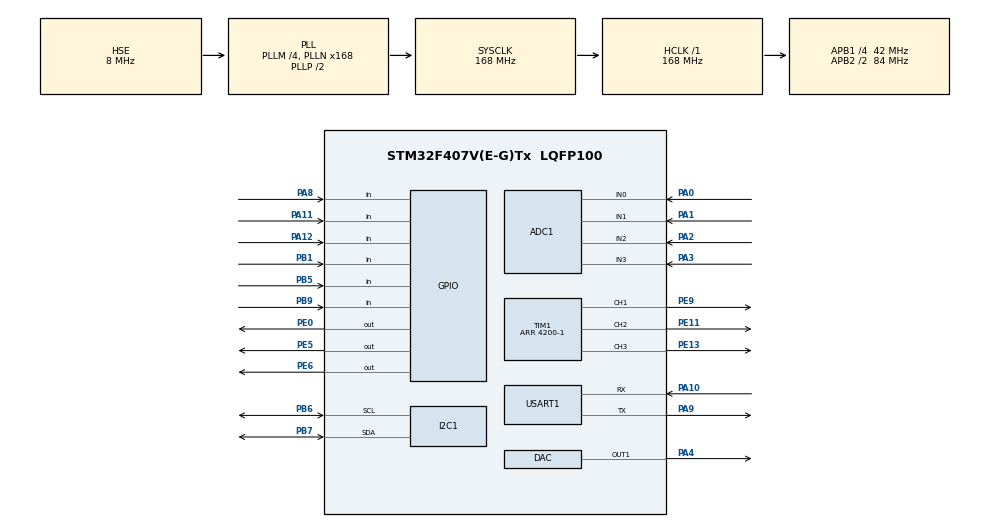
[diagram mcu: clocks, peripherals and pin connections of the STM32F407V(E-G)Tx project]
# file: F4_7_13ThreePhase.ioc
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ADC1.Channel-0\#ChannelRegularConversion=ADC_CHANNEL_0
ADC1.Channel-1\#ChannelRegularConversion=ADC_CHANNEL_1
ADC1.Channel-2\#ChannelRegularConversion=ADC_CHANNEL_2
ADC1.Channel-3\#ChannelRegularConversion=ADC_CHANNEL_3
ADC1.Channel-4\#ChannelRegularConversion=ADC_CHANNEL_VREFINT
ADC1.DMAContinuousRequests=ENABLE
ADC1.NbrOfConversion=5
ADC1.NbrOfConversionFlag=1
ADC1.Rank-0\#ChannelRegularConversion=1
ADC1.Rank-1\#ChannelRegularConversion=2
ADC1.Rank-2\#ChannelRegularConversion=3
ADC1.Rank-3\#ChannelRegularConversion=4
ADC1.Rank-4\#ChannelRegularConversion=5
ADC1.SamplingTime-0\#ChannelRegularConversion=ADC_SAMPLETIME_28CYCLES
ADC1.SamplingTime-1\#ChannelRegularConversion=ADC_SAMPLETIME_28CYCLES
ADC1.SamplingTime-2\#ChannelRegularConversion=ADC_SAMPLETIME_28CYCLES
ADC1.SamplingTime-3\#ChannelRegularConversion=ADC_SAMPLETIME_28CYCLES
ADC1.SamplingTime-4\#ChannelRegularConversion=ADC_SAMPLETIME_28CYCLES
ADC1.ScanConvMode=ENABLE
ADC1.master=1
Dma.ADC1.0.Direction=DMA_PERIPH_TO_MEMORY
Dma.ADC1.0.FIFOMode=DMA_FIFOMODE_DISABLE
Dma.ADC1.0.Instance=DMA2_Stream0
Dma.ADC1.0.MemDataAlignment=DMA_MDATAALIGN_HALFWORD
Dma.ADC1.0.MemInc=DMA_MINC_ENABLE
Dma.ADC1.0.Mode=DMA_CIRCULAR
Dma.ADC1.0.PeriphDataAlignment=DMA_PDATAALIGN_HALFWORD
Dma.ADC1.0.PeriphInc=DMA_PINC_DISABLE
Dma.ADC1.0.Priority=DMA_PRIORITY_HIGH
Dma.Request0=ADC1
Dma.Request1=USART1_RX
Dma.Request2=USART1_TX
Dma.USART1_RX.1.Direction=DMA_PERIPH_TO_MEMORY
Dma.USART1_RX.1.FIFOMode=DMA_FIFOMODE_DISABLE
Dma.USART1_RX.1.Instance=DMA2_Stream2
Dma.USART1_RX.1.MemDataAlignment=DMA_MDATAALIGN_BYTE
Dma.USART1_RX.1.MemInc=DMA_MINC_ENABLE
Dma.USART1_RX.1.Mode=DMA_NORMAL
Dma.USART1_RX.1.PeriphDataAlignment=DMA_PDATAALIGN_BYTE
Dma.USART1_RX.1.PeriphInc=DMA_PINC_DISABLE
Dma.USART1_RX.1.Priority=DMA_PRIORITY_LOW
Dma.USART1_TX.2.Direction=DMA_MEMORY_TO_PERIPH
Dma.USART1_TX.2.FIFOMode=DMA_FIFOMODE_DISABLE
Dma.USART1_TX.2.Instance=DMA2_Stream7
Dma.USART1_TX.2.MemDataAlignment=DMA_MDATAALIGN_BYTE
Dma.USART1_TX.2.MemInc=DMA_MINC_ENABLE
Dma.USART1_TX.2.Mode=DMA_NORMAL
Dma.USART1_TX.2.PeriphDataAlignment=DMA_PDATAALIGN_BYTE
Dma.USART1_TX.2.PeriphInc=DMA_PINC_DISABLE
Dma.USART1_TX.2.Priority=DMA_PRIORITY_LOW
Mcu.Family=STM32F4
Mcu.Name=STM32F407V(E-G)Tx
Mcu.Package=LQFP100
NVIC.DMA2_Stream0_IRQn=true\:0\:0\:false\:false\:true\:false\:true\:true
NVIC.DMA2_Stream2_IRQn=true\:0\:0\:false\:false\:true\:false\:true\:true
NVIC.DMA2_Stream7_IRQn=true\:0\:0\:false\:false\:true\:false\:true\:true
NVIC.PriorityGroup=NVIC_PRIORITYGROUP_4
NVIC.TIM1_BRK_TIM9_IRQn=true\:0\:0\:false\:false\:true\:true\:true\:true
NVIC.TIM1_CC_IRQn=true\:0\:0\:false\:false\:true\:true\:true\:true
NVIC.TIM1_TRG_COM_TIM11_IRQn=true\:0\:0\:false\:false\:true\:true\:true\:true
NVIC.TIM1_UP_TIM10_IRQn=true\:0\:0\:false\:false\:true\:true\:true\:true
NVIC.TIM2_IRQn=true\:0\:0\:false\:false\:true\:true\:true\:true
NVIC.TIM3_IRQn=true\:0\:0\:false\:false\:true\:true\:true\:true
NVIC.TIM4_IRQn=true\:0\:0\:false\:false\:true\:true\:true\:true
NVIC.TIM6_DAC_IRQn=true\:0\:0\:false\:false\:true\:true\:true\:true
NVIC.USART1_IRQn=true\:0\:0\:false\:false\:true\:true\:true\:true
PA0-WKUP.Signal=ADCx_IN0
PA1.Signal=ADCx_IN1
PA10.Mode=Asynchronous
PA10.Signal=USART1_RX
PA11.GPIO_PuPd=GPIO_PULLUP
PA11.Signal=GPIO_Input
PA12.GPIO_PuPd=GPIO_PULLUP
PA12.Signal=GPIO_Input
PA13.Mode=Serial_Wire
PA13.Signal=SYS_JTMS-SWDIO
PA14.Mode=Serial_Wire
PA14.Signal=SYS_JTCK-SWCLK
PA2.Signal=ADCx_IN2
PA3.Signal=ADCx_IN3
PA4.Signal=COMP_DAC1_group
PA8.GPIO_PuPd=GPIO_PULLUP
PA8.Signal=GPIO_Input
PA9.Mode=Asynchronous
PA9.Signal=USART1_TX
PB1.GPIO_PuPd=GPIO_PULLUP
PB1.Signal=GPIO_Input
PB5.GPIO_PuPd=GPIO_PULLUP
PB5.Signal=GPIO_Input
PB6.Mode=I2C
PB6.Signal=I2C1_SCL
PB7.Mode=I2C
PB7.Signal=I2C1_SDA
PB9.GPIO_PuPd=GPIO_PULLUP
PB9.Signal=GPIO_Input
PC14-OSC32_IN.Mode=LSE-External-Oscillator
PC14-OSC32_IN.Signal=RCC_OSC32_IN
PC15-OSC32_OUT.Mode=LSE-External-Oscillator
PC15-OSC32_OUT.Signal=RCC_OSC32_OUT
PE0.GPIO_Speed=GPIO_SPEED_FREQ_HIGH
PE0.Signal=GPIO_Output
PE11.Signal=S_TIM1_CH2
PE13.Signal=S_TIM1_CH3
PE5.GPIO_Speed=GPIO_SPEED_FREQ_HIGH
PE5.Signal=GPIO_Output
PE6.GPIO_Speed=GPIO_SPEED_FREQ_HIGH
PE6.Signal=GPIO_Output
PE9.Signal=S_TIM1_CH1
PH0-OSC_IN.Mode=HSE-External-Oscillator
PH0-OSC_IN.Signal=RCC_OSC_IN
PH1-OSC_OUT.Mode=HSE-External-Oscillator
PH1-OSC_OUT.Signal=RCC_OSC_OUT
ProjectManager.HeapSize=0x200
ProjectManager.StackSize=0x400
ProjectManager.TargetToolchain=MDK-ARM V5.32
RCC.48MHZClocksFreq_Value=84000000
RCC.AHBFreq_Value=168000000
RCC.APB1CLKDivider=RCC_HCLK_DIV4
RCC.APB1Freq_Value=42000000
RCC.APB1TimFreq_Value=84000000
RCC.APB2CLKDivider=RCC_HCLK_DIV2
RCC.APB2Freq_Value=84000000
RCC.APB2TimFreq_Value=168000000
RCC.CortexFreq_Value=168000000
RCC.HCLKFreq_Value=168000000
RCC.HSE_VALUE=8000000
RCC.HSI_VALUE=16000000
RCC.PLLM=4
RCC.PLLN=168
RCC.PLLSourceVirtual=RCC_PLLSOURCE_HSE
RCC.SYSCLKFreq_VALUE=168000000
RCC.SYSCLKSource=RCC_SYSCLKSOURCE_PLLCLK
RCC.VCOOutputFreq_Value=336000000
SH.ADCx_IN0.0=ADC1_IN0,IN0
SH.ADCx_IN1.0=ADC1_IN1,IN1
SH.ADCx_IN2.0=ADC1_IN2,IN2
SH.ADCx_IN3.0=ADC1_IN3,IN3
SH.COMP_DAC1_group.0=DAC_OUT1,DAC_OUT1
SH.S_TIM1_CH1.0=TIM1_CH1,PWM Generation1 CH1
SH.S_TIM1_CH2.0=TIM1_CH2,PWM Generation2 CH2
SH.S_TIM1_CH3.0=TIM1_CH3,PWM Generation3 CH3
STMicroelectronics.X-CUBE-ALGOBUILD.1.3.0.LibraryCcDSPOoLibraryJjDSPOoLibrary=true
TIM1.AutoReloadPreload=TIM_AUTORELOAD_PRELOAD_ENABLE
TIM1.Channel-PWM\ Generation1\ CH1=TIM_CHANNEL_1
TIM1.Channel-PWM\ Generation2\ CH2=TIM_CHANNEL_2
TIM1.Channel-PWM\ Generation3\ CH3=TIM_CHANNEL_3
TIM1.CounterMode=TIM_COUNTERMODE_CENTERALIGNED1
TIM1.Period=4200-1
TIM1.Pulse-PWM\ Generation1\ CH1=2100
TIM1.Pulse-PWM\ Generation2\ CH2=2100
TIM1.Pulse-PWM\ Generation3\ CH3=2100
TIM2.AutoReloadPreload=TIM_AUTORELOAD_PRELOAD_ENABLE
TIM2.Period=4200-1
TIM3.AutoReloadPreload=TIM_AUTORELOAD_PRELOAD_ENABLE
TIM3.Period=8400-1
TIM4.AutoReloadPreload=TIM_AUTORELOAD_PRELOAD_ENABLE
TIM4.Period=2100-1
TIM6.AutoReloadPreload=TIM_AUTORELOAD_PRELOAD_ENABLE
TIM6.Period=2100-1
USART1.VirtualMode=VM_ASYNC
VP_ADC1_Vref_Input.Mode=IN-Vrefint
VP_STMicroelectronics.X-CUBE-ALGOBUILD_VS_DSPOoLibraryJjLibrary_1.3.0_1.3.0.Mode=DSPOoLibraryJjLibrary
VP_TIM1_VS_ClockSourceINT.Mode=Internal
VP_TIM2_VS_ClockSourceINT.Mode=Internal
VP_TIM3_VS_ClockSourceINT.Mode=Internal
VP_TIM4_VS_ClockSourceINT.Mode=Internal
VP_TIM6_VS_ClockSourceINT.Mode=Enable_Timer
board=custom

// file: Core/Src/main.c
/* USER CODE BEGIN Header */
/**
  ******************************************************************************
  * @file           : main.c
  * @brief          : Main program body
  ******************************************************************************
  * @attention
  *
  * Copyright (c) 2023 STMicroelectronics.
  * All rights reserved.
  *
  * This software is licensed under terms that can be found in the LICENSE file
  * in the root directory of this software component.
  * If no LICENSE file comes with this software, it is provided AS-IS.
  *
  ******************************************************************************
  */
/* USER CODE END Header */
#include "main.h"
#include "adc.h"
#include "dac.h"
#include "dma.h"
#include "i2c.h"
#include "tim.h"
#include "usart.h"
#include "gpio.h"

/* USER CODE BEGIN Includes */
#include "cleck.h"
#include "Svpwm.h"
#include "Ave_Sam.h"
#include "Park.h"
#include "math.h"
#include "PLL.h"
#include "arm_math.h"
#include "SOGI_PLL.h"
#include "SPWM_pid.h"
#include "vofa.h"
#include "Smping.h"
#include "oled.h"
#include "key.h"
/* USER CODE END Includes */

/* USER CODE BEGIN PTD */
#define iq_tar     0

//#define kp_q       -8.2f  //-5.f                并网逆变10v 1A分配kp_q=-9.f  ki_q=-0.08f
//#define ki_q       -0.08f   //-20.0f
//#define kp_d       -13.f  //-12.5f                                             //-12.5f
//#define ki_d       -0.6f  //-5.f             2号

//#define kp_q       -10.f  //-5.f                并网逆变10v 1A分配kp_q=-9.f  ki_q=-0.08f
//#define ki_q       -0.010f   //-20.0f
//#define kp_d       -10.f  //-12.5f                                             //-12.5f
//#define ki_d       -0.1f  //-5.f

float  kp_q    =   -0.f;  //-5.f                并网逆变10v 1A分配kp_q=-9.f  ki_q=-0.08f
float  ki_q    =   -0.f ;  //-20.0f
float  kp_d    =   -0.f  ;//-12.5f                                             //-12.5f
float ki_d     =  -0.f ; //-5.f                                                 //-5.f
CLECK Cleck,Cleck_1;
PARK  Park;
AD_Detc AD_buf;
extern PLL p;
extern PR PRII;
PIDV pid;
Fil_TypeDef fil_i={0.f,0.f,0.f,0.f,0.f,0.f,},fil_u={0.f,0.f,0.f,0.f,0.f,0.f,};
float U_spwm,V_spwm,W_spwm,sumU;
float Sin_A,Sin_B,Sin_C;

float Un=1.f,Vn=1.f,Wn=1.f;

float Out;
float Tim_1_channe1_Compare,Tim_1_channe2_Compare;

float iq_error,iq_error_sum;
float id_error,id_error_sum;
float uab,uab_d,uab_q;
float target_nibian=22.f;
uint16_t time_count;
uint16_t time_start;
uint8_t key;
uint8_t key1;
float Iset;
float IoutT;
float id_tar  =   -1.414f;
float x=0;
/* USER CODE END PTD */

void SystemClock_Config(void);

int main(void)
{

  /* MCU Configuration--------------------------------------------------------*/

  /* Reset of all peripherals, Initializes the Flash interface and the Systick. */
  HAL_Init();

  /* Configure the system clock */
  SystemClock_Config();

  /* Initialize all configured peripherals */
  MX_GPIO_Init();
  MX_DMA_Init();
  MX_ADC1_Init();
  MX_TIM1_Init();
  MX_TIM2_Init();
  MX_TIM3_Init();
  MX_DAC_Init();
  MX_USART1_UART_Init();
  MX_TIM4_Init();
  MX_I2C1_Init();
  MX_TIM6_Init();
  /* USER CODE BEGIN 2 */
	OLED_Init();
	OLED_CLS();
	OLED_ShowStr(39,2,"STOP   ",2);
	OLED_ShowStr(0,4,"Iset:",2);
	OLED_ShowStr(68,4,".",2);
	OLED_ShowStr(98,4,"A",2);
	OLED_ON();
	HAL_TIM_Base_Start_IT(&htim2);
	HAL_TIM_Base_Start_IT(&htim3);
	HAL_TIM_Base_Start_IT(&htim1);
	HAL_TIM_Base_Start_IT(&htim4);
	HAL_TIM_Base_Start_IT(&htim6);
	HAL_TIM_PWM_Start(&htim1,TIM_CHANNEL_1);
	HAL_TIM_PWM_Start(&htim1,TIM_CHANNEL_2);
	HAL_TIM_PWM_Start(&htim1,TIM_CHANNEL_3);
	PLL_Init(&Cleck,&Park);
	HAL_DAC_Start(&hdac, DAC_CHANNEL_1);
	PID_init(&pid);
  /* USER CODE END 2 */

  /* Infinite loop */
  while (1)
  {

    /* USER CODE BEGIN 3 */
		key=KEY_Scan(1);
		switch(key)
		{
			case 1:  Iset+=0.01;
			break;
			case 2:  Iset-=0.01;
			break;
		}
		if(Iset>2)
			Iset=2;
		if(Iset<1)
			Iset=1;

		key1=KEY_Scan1(0);
		switch(key1)
		{
			case 3:  id_tar=Iset*-1.414f;
			break;
			case 4:
				 kp_q     =  -4.0f ; //-5.f                并网逆变10v 1A分配kp_q=-9.f  ki_q=-0.08f     -6.5f
         ki_q     =  -0.2f;   //-20.0f                                                      -0.15f
         kp_d     =  -4.0f ; //-12.5f                                             //-12.5f   -6.5f
         ki_d     =  -0.2f ; //-5                                                           -0.15f
			   x=0.8f;
			   id_tar  =   -1.414f*2.0f;
								OLED_ShowStr(39,2,"PARALLE",2);
			break;
			case 5:
			   kp_q     =  -7.4f ; //-5.f                并网逆变10v 1A分配kp_q=-9.f  ki_q=-0.08f
         ki_q     =  -0.3f;   //-20.0f
         kp_d     =  -7.4f ; //-12.5f                                             //-12.5f
         ki_d     =  -0.3f ;
			  x=0.812f;

								OLED_ShowStr(39,2,"ON-GRID",2);
			break;
			case 6:
				kp_q     =  -0.f ; //-5.f                并网逆变10v 1A分配kp_q=-9.f  ki_q=-0.08f
         ki_q     =  -0.f;   //-20.0f
         kp_d     =  -0.f ; //-12.5f                                             //-12.5f
         ki_d     =  -0.0f ;
								OLED_ShowStr(39,2,"STOP   ",2);
			break;
		}
	  uint8_t 	Itemp[4];
		if(Iset>1)
			IoutT=(Iset*0.4602+0.5324)*100;
		else
			IoutT=Iset*100;
		Itemp[0] = (uint8_t)(IoutT/1000);
		Itemp[1] = (uint8_t)((IoutT-(uint8_t)Itemp[0]*1000)/100);
		Itemp[2] = (uint8_t)((IoutT-(uint16_t)Itemp[0]*1000-(uint16_t)Itemp[1]*100)/10);
		Itemp[3] = (uint8_t)(IoutT-(uint16_t)Itemp[0]*1000-(uint16_t)Itemp[1]*100-(uint16_t)Itemp[2]*10);
		OLEDShowData(50,4,Itemp[0]);
		OLEDShowData(60,4,Itemp[1]);
		OLEDShowData(75,4,Itemp[2]);
		OLEDShowData(85,4,Itemp[3]);
			OLED_ON();

  }
  /* USER CODE END 3 */
}

void SystemClock_Config(void)
{
  RCC_OscInitTypeDef RCC_OscInitStruct = {0};
  RCC_ClkInitTypeDef RCC_ClkInitStruct = {0};

  /** Configure the main internal regulator output voltage
  */
  __HAL_RCC_PWR_CLK_ENABLE();
  __HAL_PWR_VOLTAGESCALING_CONFIG(PWR_REGULATOR_VOLTAGE_SCALE1);

  /** Initializes the RCC Oscillators according to the specified parameters
  * in the RCC_OscInitTypeDef structure.
  */
  RCC_OscInitStruct.OscillatorType = RCC_OSCILLATORTYPE_HSE;
  RCC_OscInitStruct.HSEState = RCC_HSE_ON;
  RCC_OscInitStruct.PLL.PLLState = RCC_PLL_ON;
  RCC_OscInitStruct.PLL.PLLSource = RCC_PLLSOURCE_HSE;
  RCC_OscInitStruct.PLL.PLLM = 4;
  RCC_OscInitStruct.PLL.PLLN = 168;
  RCC_OscInitStruct.PLL.PLLP = RCC_PLLP_DIV2;
  RCC_OscInitStruct.PLL.PLLQ = 4;
  if (HAL_RCC_OscConfig(&RCC_OscInitStruct) != HAL_OK)
  {
    Error_Handler();
  }

  /** Initializes the CPU, AHB and APB buses clocks
  */
  RCC_ClkInitStruct.ClockType = RCC_CLOCKTYPE_HCLK|RCC_CLOCKTYPE_SYSCLK
                              |RCC_CLOCKTYPE_PCLK1|RCC_CLOCKTYPE_PCLK2;
  RCC_ClkInitStruct.SYSCLKSource = RCC_SYSCLKSOURCE_PLLCLK;
  RCC_ClkInitStruct.AHBCLKDivider = RCC_SYSCLK_DIV1;
  RCC_ClkInitStruct.APB1CLKDivider = RCC_HCLK_DIV4;
  RCC_ClkInitStruct.APB2CLKDivider = RCC_HCLK_DIV2;

  if (HAL_RCC_ClockConfig(&RCC_ClkInitStruct, FLASH_LATENCY_5) != HAL_OK)
  {
    Error_Handler();
  }
}

/* USER CODE BEGIN 4 */

void HAL_TIM_PeriodElapsedCallback(TIM_HandleTypeDef *htim)
{
	if(htim==&htim3)
	{
		Sin_Start(10000,1,sqrt_3);
    Get_ADC(&AD_buf);

		AD_buf.uV_ref=Ave_Sam_u(AD_buf.Udetc_f,10);
		AD_buf.uI_ref=Ave_Sam_i(AD_buf.Vdetc_f,10);
		AD_buf.wV_ref=Ave_Sam_w(AD_buf.Wdetc_f,10);
		///////////////////对AD_Buf取平均
		AD_buf.uV_data=(AD_buf.uV_ref-1.64f)/0.0101f;
		AD_buf.wV_data=(AD_buf.wV_ref-1.64f)/0.0101f;
    AD_buf.uI_data=(AD_buf.uI_ref-1.654f)/0.4f;
//		send_data_to_vofa4(AD_buf.uV_data,Un,AD_buf.wV_data,fil_i.d);
//		time_count++;
//		sumU+=AD_buf.uV_data*AD_buf.uV_data;
//		if(time_count==400)
//			{
//				time_count=0;
//				Un=sqrt(sumU*0.0025f);//
//				sumU=0.f;//
//			}
	}

	if(htim==&htim2)
	{
		Sogi_pll(-AD_buf.uV_data,&fil_u);

		SOGI_FIL(AD_buf.uI_data,&fil_i);

	}
	if(htim==&htim6)
	{
				iq_error=iq_tar - fil_i.q;
		iq_error_sum+=iq_error*0.00005f;

		id_error=id_tar - fil_i.d;
		id_error_sum+=id_error*0.00005f;
	    if(iq_error_sum>0.8f)
		{
			iq_error_sum=0.8f;
		}
		if(iq_error_sum<-0.8f)
		{
			iq_error_sum=-0.8f;
		}
		if(id_error_sum>0.8f)
		{
			id_error_sum=0.8f;
		}
		if(id_error_sum<-0.8f)
		{
			id_error_sum=-0.8f;
		}
		uab_d=fil_u.d + (kp_d*id_error + ki_d*id_error_sum) - 100*PI*0.002f*fil_i.q ;
		uab_q= -(kp_q*iq_error + ki_q*iq_error_sum) + 100*PI*0.002f*fil_i.d;
		uab=(uab_d*arm_cos_f32(p.angle* PI) + uab_q*arm_sin_f32(p.angle* PI));
		if(AD_buf.wV_data<=1.0f)
		{
			AD_buf.wV_data=1.0f;
		}
		Out=uab/AD_buf.wV_data/1.f;
		if(Out>1)Out=1;
		if(Out<-1)Out=-1;
		Tim_1_channe2_Compare=(8200*Out*0.5f + 8200*0.5f)*0.5f*x;
		Tim_1_channe1_Compare=(-8200*Out*0.5f + 8200*0.5f)*0.5f*x;

		 __HAL_TIM_SetCompare(&htim1,TIM_CHANNEL_2,(unsigned int)Tim_1_channe1_Compare);
	   __HAL_TIM_SetCompare(&htim1,TIM_CHANNEL_3,(unsigned int)Tim_1_channe2_Compare);
	}

//	if(htim==&htim4)
//	{
//		  time_count++;
//		  sumU+=AD_buf.uV_data*AD_buf.uV_data;
//		if(time_count==400)
//			{
//				time_count=0;
//				Un=sqrt(sumU*0.0025f);//
//				sumU=0.f;//
//			}
//     Spwm_pid(&pid,target_nibian,Un);
//		 Tim_1_channe1_Compare=(pid.out*Sin_A*0.5*8400 + 4200)*0.5f;
//	   Tim_1_channe2_Compare=(pid.out*(-Sin_A)*0.5*8400 +4200)*0.5f;
//	   __HAL_TIM_SetCompare(&htim1,TIM_CHANNEL_2,(unsigned int)Tim_1_channe1_Compare);
//	   __HAL_TIM_SetCompare(&htim1,TIM_CHANNEL_3,(unsigned int)Tim_1_channe2_Compare);
//	}

}
/* USER CODE END 4 */

void Error_Handler(void)
{
  __disable_irq();
  while (1)
  {
  }
}
